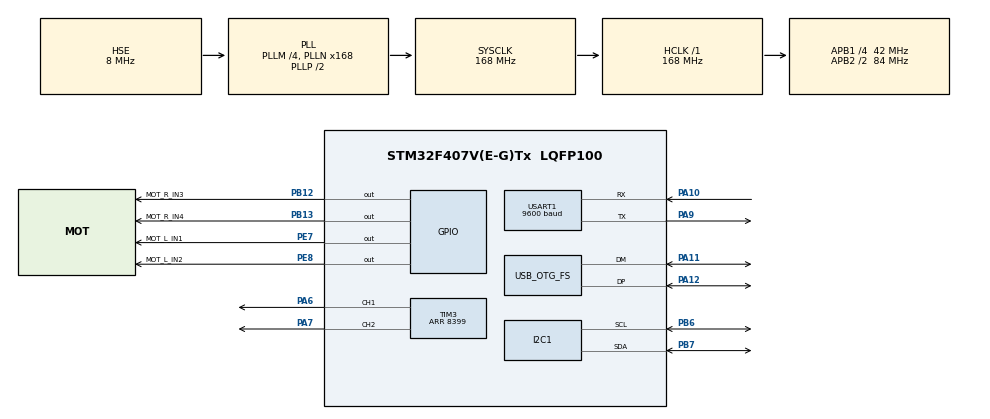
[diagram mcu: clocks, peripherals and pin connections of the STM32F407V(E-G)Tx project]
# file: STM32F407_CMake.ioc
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Dma.Request0=USART1_RX
Dma.USART1_RX.0.Direction=DMA_PERIPH_TO_MEMORY
Dma.USART1_RX.0.FIFOMode=DMA_FIFOMODE_DISABLE
Dma.USART1_RX.0.Instance=DMA2_Stream2
Dma.USART1_RX.0.MemDataAlignment=DMA_MDATAALIGN_BYTE
Dma.USART1_RX.0.MemInc=DMA_MINC_ENABLE
Dma.USART1_RX.0.Mode=DMA_CIRCULAR
Dma.USART1_RX.0.PeriphDataAlignment=DMA_PDATAALIGN_BYTE
Dma.USART1_RX.0.PeriphInc=DMA_PINC_DISABLE
Dma.USART1_RX.0.Priority=DMA_PRIORITY_LOW
Mcu.Family=STM32F4
Mcu.Name=STM32F407V(E-G)Tx
Mcu.Package=LQFP100
NVIC.DMA2_Stream2_IRQn=true\:0\:0\:false\:false\:true\:false\:true\:true
NVIC.OTG_FS_IRQn=true\:0\:0\:false\:false\:true\:false\:true\:true
NVIC.PriorityGroup=NVIC_PRIORITYGROUP_4
NVIC.USART1_IRQn=true\:0\:0\:false\:false\:true\:true\:true\:true
PA10.Mode=Asynchronous
PA10.Signal=USART1_RX
PA11.Mode=Device_Only
PA11.Signal=USB_OTG_FS_DM
PA12.Mode=Device_Only
PA12.Signal=USB_OTG_FS_DP
PA13.Mode=Serial_Wire
PA13.Signal=SYS_JTMS-SWDIO
PA14.Mode=Serial_Wire
PA14.Signal=SYS_JTCK-SWCLK
PA6.Signal=S_TIM3_CH1
PA7.Signal=S_TIM3_CH2
PA9.Mode=Asynchronous
PA9.Signal=USART1_TX
PB12.GPIO_Label=MOT_R_IN3
PB12.Signal=GPIO_Output
PB13.GPIO_Label=MOT_R_IN4
PB13.Signal=GPIO_Output
PB6.Mode=I2C
PB6.Signal=I2C1_SCL
PB7.Mode=I2C
PB7.Signal=I2C1_SDA
PE7.GPIO_Label=MOT_L_IN1
PE7.Signal=GPIO_Output
PE8.GPIO_Label=MOT_L_IN2
PE8.Signal=GPIO_Output
PH0-OSC_IN.Mode=HSE-External-Oscillator
PH0-OSC_IN.Signal=RCC_OSC_IN
PH1-OSC_OUT.Mode=HSE-External-Oscillator
PH1-OSC_OUT.Signal=RCC_OSC_OUT
ProjectManager.HeapSize=0x2000
ProjectManager.StackSize=0x800
ProjectManager.TargetToolchain=CMake
RCC.48MHZClocksFreq_Value=48000000
RCC.AHBFreq_Value=168000000
RCC.APB1CLKDivider=RCC_HCLK_DIV4
RCC.APB1Freq_Value=42000000
RCC.APB1TimFreq_Value=84000000
RCC.APB2CLKDivider=RCC_HCLK_DIV2
RCC.APB2Freq_Value=84000000
RCC.APB2TimFreq_Value=168000000
RCC.CortexFreq_Value=168000000
RCC.HCLKFreq_Value=168000000
RCC.HSE_VALUE=8000000
RCC.HSI_VALUE=16000000
RCC.LSE_VALUE=32768
RCC.PLLM=4
RCC.PLLN=168
RCC.PLLQ=7
RCC.SYSCLKFreq_VALUE=168000000
RCC.SYSCLKSource=RCC_SYSCLKSOURCE_PLLCLK
RCC.VCOOutputFreq_Value=336000000
SH.S_TIM3_CH1.0=TIM3_CH1,PWM Generation1 CH1
SH.S_TIM3_CH2.0=TIM3_CH2,PWM Generation2 CH2
TIM3.AutoReloadPreload=TIM_AUTORELOAD_PRELOAD_ENABLE
TIM3.Channel-PWM\ Generation1\ CH1=TIM_CHANNEL_1
TIM3.Channel-PWM\ Generation2\ CH2=TIM_CHANNEL_2
TIM3.Period=8399
USART1.BaudRate=9600
USART1.VirtualMode=VM_ASYNC
USB_DEVICE.CLASS_NAME_FS=CDC
USB_DEVICE.VirtualMode-CDC_FS=Cdc
USB_DEVICE.VirtualModeFS=Cdc_FS
USB_OTG_FS.VirtualMode=Device_Only
VP_TIM3_VS_ClockSourceINT.Mode=Internal
VP_USB_DEVICE_VS_USB_DEVICE_CDC_FS.Mode=CDC_FS
board=custom

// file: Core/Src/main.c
/* USER CODE BEGIN Header */
/**
  ******************************************************************************
  * @file           : main.c
  * @brief          : Main program body
  ******************************************************************************
  * @attention
  *
  * Copyright (c) 2026 STMicroelectronics.
  * All rights reserved.
  *
  * This software is licensed under terms that can be found in the LICENSE file
  * in the root directory of this software component.
  * If no LICENSE file comes with this software, it is provided AS-IS.
  *
  ******************************************************************************
  */
/* USER CODE END Header */
#include "main.h"
#include "dma.h"
#include "i2c.h"
#include "tim.h"
#include "usart.h"
//#include "usb_device.h"
#include "gpio.h"

/* USER CODE BEGIN Includes */
#include "stdio.h"
#include "string.h"
#include "mpu6050.h"
//#include "usbd_cdc_if.h"
#include "bt_cmd.h"
#include "motor.h"
#include "balance.h"
/* USER CODE END Includes */

/* USER CODE BEGIN PD */
#define LOG_EVERY   20      /* print one log line every 20 control cycles (20 x 5 ms = 100 ms) */
/* USER CODE END PD */

/* USER CODE BEGIN PV */
MPU6050_sensor mpu;
//extern USBD_HandleTypeDef hUsbDeviceFS;   /* defined in usb_device.c */
//static char log_buf[160];   /* must stay valid until USB finishes sending -> static */

/* Bluetooth HM-10 log buffer */
#define BLE_LOG_BUFFER_SIZE 160
static char ble_log_buf[BLE_LOG_BUFFER_SIZE];

/* USER CODE END PV */

void SystemClock_Config(void);

/* USER CODE BEGIN 0 */
/* Blocking print: only for start-up messages (before the control loop runs). */
/*static void usb_print(const char *s)
{
    uint32_t t = HAL_GetTick();
    while (CDC_Transmit_FS((uint8_t *)s, strlen(s)) == USBD_BUSY &&
           (HAL_GetTick() - t) < 50) { }
}

/* Non-blocking log: if USB is still busy, skip this line instead of waiting,
 * so the 200 Hz control loop is never delayed. */
/*static void log_try_send(void)
{
    USBD_CDC_HandleTypeDef *hcdc = (USBD_CDC_HandleTypeDef *)hUsbDeviceFS.pClassData;
    if (hcdc == NULL || hcdc->TxState != 0) return;

    snprintf(log_buf, sizeof(log_buf),
             "%.3f\t,%.3f\t,%.3f\t,%.2f\t,%.2f\t,%.2f\t,%.1f\t,%.2f\t,%.2f\t,%.1f\t,%d\r\n",
             mpu.ax, mpu.ay, mpu.az, mpu.gx, mpu.gy, mpu.gz,
             mpu.temp, mpu.roll, mpu.pitch,
             Balance_GetOutput(), Balance_IsArmed());
    CDC_Transmit_FS((uint8_t *)log_buf, strlen(log_buf));
}

/* Blocking print: only used before the control loop starts */
static void ble_print(const char *s)
{
    HAL_UART_Transmit(&huart1,
                      (uint8_t *)s,
                      strlen(s),
                      1000);
}
/* Non-blocking Bluetooth log */
static void ble_log_try_send(void)
{
    if (huart1.gState != HAL_UART_STATE_READY)
        return;

    int len = snprintf(ble_log_buf,
                       sizeof(ble_log_buf),
                       "%.3f\rt%.1f\r\n",
                       mpu.pitch,
                       Balance_GetOutput());

    if (len <= 0 || len >= sizeof(ble_log_buf))
        return;

    HAL_UART_Transmit_IT(&huart1,
                         (uint8_t *)ble_log_buf,
                         len);
}

/* USER CODE END 0 */

int main(void)
{

  /* MCU Configuration--------------------------------------------------------*/

  /* Reset of all peripherals, Initializes the Flash interface and the Systick. */
    HAL_Init();

  /* Configure the system clock */
  SystemClock_Config();

  /* Initialize all configured peripherals */
  MX_GPIO_Init();
  MX_DMA_Init();
//  MX_USB_DEVICE_Init();
  MX_I2C1_Init();
  MX_TIM3_Init();
  MX_USART1_UART_Init();
  /* USER CODE BEGIN 2 */
  Motor_Init(&htim3);
  HAL_Delay(1000);   /* wait for USB CDC to be ready */
  while (MPU6050_Init(&hi2c1) != HAL_OK) {
      ble_print("MPU6050 not responding!\r\n");
      HAL_Delay(1000);
  }
  ble_print("Calibrating gyroscope, keep board still...\r\n");
  HAL_Delay(1000);   /* let the sensor settle before calibrating */
  while (MPU6050_CalibrateGyro(&hi2c1) != HAL_OK) {
      ble_print("Gyro calibration failed (moving?), retrying...\r\n");
      HAL_Delay(500);
  }
  Balance_Init();
  BtCmd_Init(&huart1);
  ble_print("Ready. Hold the robot upright to start balancing.\r\n");

  uint32_t next = HAL_GetTick();   /* time of the next control cycle */
  uint16_t log_div = 0;
  uint8_t  i2c_fail = 0;
  /* USER CODE END 2 */

  /* Infinite loop */
  while (1)
  {

    /* USER CODE BEGIN 3 */
    BtCmd_Process();
    uint32_t now = HAL_GetTick();
    if ((int32_t)(now - next) >= 0) {
        next += BAL_LOOP_MS;
        if ((int32_t)(now - next) > 50) next = now;   /* fell far behind: resync, no catch-up burst */

        uint8_t ok = (MPU6050_ReadAll(&hi2c1, &mpu) == HAL_OK);
        if (ok) {
            i2c_fail = 0;
        } else if (++i2c_fail >= 3) {      /* I2C bus probably locked up by motor noise: restart it */
            i2c_fail = 0;
            HAL_I2C_DeInit(&hi2c1);
            __HAL_RCC_I2C1_FORCE_RESET();    /* hardware-reset the I2C peripheral (clears a stuck BUSY flag) */
            __HAL_RCC_I2C1_RELEASE_RESET();
            MX_I2C1_Init();
            MPU6050_Init(&hi2c1);          /* re-configure the sensor (gyro offsets are kept) */
        }
        Balance_Update(&mpu, ok);

        if (++log_div >= LOG_EVERY) {
            log_div = 0;
            //ble_log_try_send();
            BtCmd_SendTelemetry(mpu.pitch, Balance_GetOutput());
        }
    }

  }
  /* USER CODE END 3 */
}

void SystemClock_Config(void)
{
  RCC_OscInitTypeDef RCC_OscInitStruct = {0};
  RCC_ClkInitTypeDef RCC_ClkInitStruct = {0};

  /** Configure the main internal regulator output voltage
  */
  __HAL_RCC_PWR_CLK_ENABLE();
  __HAL_PWR_VOLTAGESCALING_CONFIG(PWR_REGULATOR_VOLTAGE_SCALE1);

  /** Initializes the RCC Oscillators according to the specified parameters
  * in the RCC_OscInitTypeDef structure.
  */
  RCC_OscInitStruct.OscillatorType = RCC_OSCILLATORTYPE_HSE;
  RCC_OscInitStruct.HSEState = RCC_HSE_ON;
  RCC_OscInitStruct.PLL.PLLState = RCC_PLL_ON;
  RCC_OscInitStruct.PLL.PLLSource = RCC_PLLSOURCE_HSE;
  RCC_OscInitStruct.PLL.PLLM = 4;
  RCC_OscInitStruct.PLL.PLLN = 168;
  RCC_OscInitStruct.PLL.PLLP = RCC_PLLP_DIV2;
  RCC_OscInitStruct.PLL.PLLQ = 7;
  if (HAL_RCC_OscConfig(&RCC_OscInitStruct) != HAL_OK)
  {
    Error_Handler();
  }

  /** Initializes the CPU, AHB and APB buses clocks
  */
  RCC_ClkInitStruct.ClockType = RCC_CLOCKTYPE_HCLK|RCC_CLOCKTYPE_SYSCLK
                              |RCC_CLOCKTYPE_PCLK1|RCC_CLOCKTYPE_PCLK2;
  RCC_ClkInitStruct.SYSCLKSource = RCC_SYSCLKSOURCE_PLLCLK;
  RCC_ClkInitStruct.AHBCLKDivider = RCC_SYSCLK_DIV1;
  RCC_ClkInitStruct.APB1CLKDivider = RCC_HCLK_DIV4;
  RCC_ClkInitStruct.APB2CLKDivider = RCC_HCLK_DIV2;

  if (HAL_RCC_ClockConfig(&RCC_ClkInitStruct, FLASH_LATENCY_5) != HAL_OK)
  {
    Error_Handler();
  }
}

void Error_Handler(void)
{
  __disable_irq();
  while (1)
  {
  }
}
